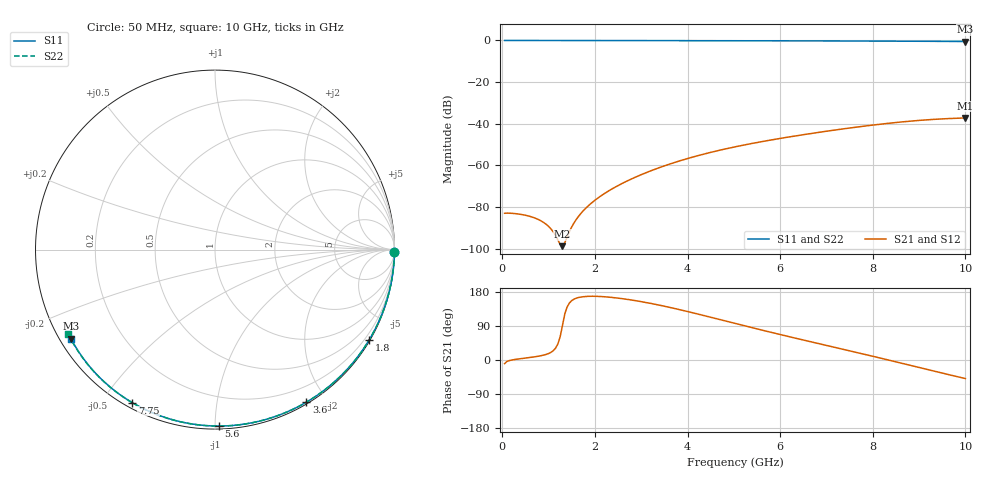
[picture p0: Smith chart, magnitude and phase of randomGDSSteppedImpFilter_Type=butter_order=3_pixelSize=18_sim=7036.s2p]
! freq	dB(S11)	phase(S11)	dB(S12)	phase(S12)
!  dB(S21)	phase(S21)	dB(S22)	phase(S22)
!S-par simulation data
#  GHz  S  DB  R 50
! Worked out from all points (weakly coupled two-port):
!   200 points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, 50 MHz to 10 GHz, reference 50 ohm
!   highest |S21| = -37.25 dB at 10 GHz (marker M1); lowest = -98.9 dB at 1.3 GHz (marker M2)
!   lowest |S11| = -0.5 dB at 10 GHz (marker M3), VSWR 34.38, Z = 1.57 - j14.2 ohm
!   |S11| at or under -10 dB: nowhere
!   |S22| runs from -0.5 to 0.0 dB; largest |S21 - S12| = 0
!   S11 on the Smith chart (normalised r, x): 50 MHz: open; 1.8 GHz: 0.03, -3.69; 3.6 GHz: 0.02, -1.76; 5.6 GHz: 0.02, -1.02; 7.75 GHz: 0.02, -0.60; 10 GHz: 0.03, -0.28
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0.05  -0.00 -0.9  -83.05 -9.6  -83.05 -9.6  -0.00 -0.9
0.65  -0.01 -11.1  -84.90 7.5  -84.90 7.5  -0.01 -11.3
1.3  -0.03 -22.0  -98.86 92.4  -98.86 92.4  -0.03 -22.4
1.75  -0.04 -29.5  -81.81 167.1  -81.81 167.1  -0.04 -30.0
1.8  -0.04 -30.3  -80.66 167.6  -80.66 167.6  -0.04 -30.9
1.85  -0.04 -31.1  -79.61 168.0  -79.61 168.0  -0.04 -31.7
2  -0.04 -33.6  -76.79 168.1  -76.79 168.1  -0.04 -34.2
2.2  -0.05 -36.9  -73.65 166.9  -73.65 166.9  -0.05 -37.5
2.5  -0.05 -41.7  -69.74 163.3  -69.74 163.3  -0.05 -42.5
2.9  -0.06 -48.1  -65.45 156.1  -65.45 156.1  -0.06 -49.0
3.4  -0.07 -56.0  -61.05 144.5  -61.05 144.5  -0.08 -57.0
3.6  -0.08 -59.1  -59.51 139.3  -59.51 139.3  -0.08 -60.2
3.9  -0.09 -63.7  -57.40 130.9  -57.40 130.9  -0.09 -64.8
4.3  -0.10 -69.8  -54.91 119.0  -54.91 119.0  -0.10 -71.0
5.05  -0.12 -80.9  -51.01 95.9  -51.01 95.9  -0.13 -82.2
5.6  -0.15 -88.8  -48.64 79.1  -48.64 79.1  -0.15 -90.3
6.15  -0.17 -96.6  -46.53 62.8  -46.53 62.8  -0.18 -98.1
6.7  -0.20 -104.2  -44.61 47.0  -44.61 47.0  -0.21 -105.8
7.75  -0.27 -118.4  -41.35 17.1  -41.35 17.1  -0.28 -120.1
8.35  -0.32 -126.4  -39.78 -0.4  -39.78 -0.4  -0.33 -128.1
9.2  -0.40 -137.7  -38.10 -25.7  -38.10 -25.7  -0.41 -139.5
10  -0.51 -148.2  -37.25 -48.9  -37.25 -48.9  -0.51 -150.2
